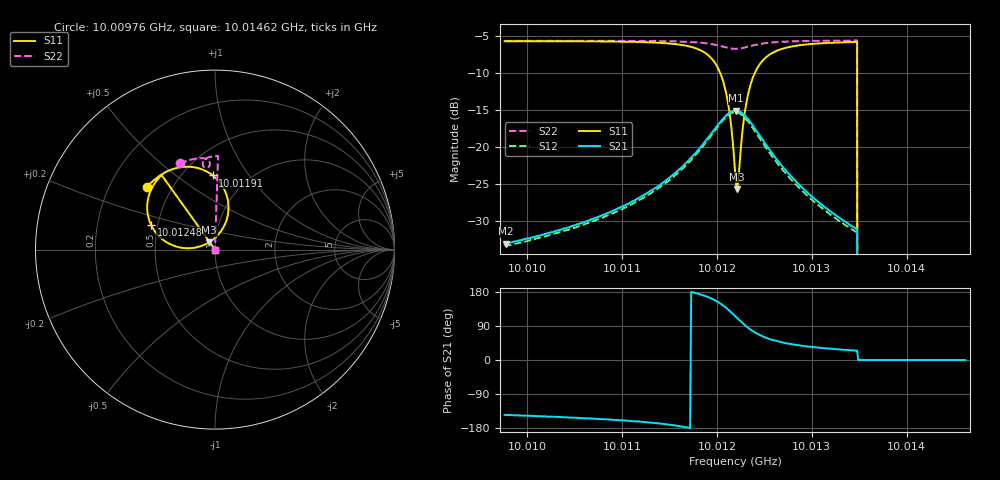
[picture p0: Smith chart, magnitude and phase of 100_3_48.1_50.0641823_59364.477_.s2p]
#  HZ  S  RI  R  50.00
! Rohde & Schwarz Vector Network Analyzer
! Rohde-Schwarz,ZNB20-2Port,1311601062101988,3.16
! Created: UTC 12/23/2023, 3:44:40 AM
! freq[Hz]  re:S11  im:S11  re:S21  im:S21  re:S12  im:S12  re:S22  im:S22
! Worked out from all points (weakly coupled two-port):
!   401 points, 10.00976 GHz to 10.01462 GHz, reference 50 ohm
!   highest |S21| = -15.09 dB at 10.0122 GHz (marker M1); lowest = -33.0 dB at 10.00977 GHz (marker M2)
!   lowest |S11| = -25.6 dB at 10.01221 GHz (marker M3), VSWR 1.11, Z = 46.7 + j3.82 ohm
!   |S11| at or under -10 dB: 10.01203 GHz to 10.0124 GHz (367.2 kHz wide, 0.00367 % of centre); 10.01348 GHz to end of sweep
!   |S22| runs from - to -5.6 dB; largest |S21 - S12| = 0.0084
!   S11 on the Smith chart (normalised r, x): 10.00976 GHz: 0.36, +0.35; 10.01191 GHz: 0.69, +0.69; 10.01248 GHz: 0.46, +0.15; 10.01462 GHz: 1.00, +0.00
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1.0009759e10  -0.3782 0.3506  -0.0183 -0.0129  -0.0169 -0.0133  -0.1962 0.4799
1.0009771e10  -0.3774 0.3512  -0.0183 -0.0128  -0.0172 -0.0134  -0.1954 0.4803
1.0010573e10  -0.3227 0.4014  -0.0275 -0.0139  -0.0259 -0.0147  -0.1445 0.4985
1.0011387e10  -0.2184 0.4538  -0.0537 -0.0121  -0.0512 -0.0145  -0.0858 0.5096
1.0011909e10  -0.0125 0.4134  -0.113 0.0287  -0.111 0.0224  -0.0363 0.4955
1.0012007e10  0.0493 0.3393  -0.1254 0.063  -0.1254 0.0552  -0.029 0.4831
1.001208e10  0.0751 0.2433  -0.1238 0.1004  -0.1255 0.0925  -0.0293 0.4706
1.001214e10  0.0563 0.1432  -0.1053 0.1359  -0.1084 0.1281  -0.0357 0.4607
1.0012189e10  0.0045 0.0692  -0.0778 0.1576  -0.0818 0.1507  -0.045 0.4563
1.0012201e10  -0.0132 0.0543  -0.0697 0.1617  -0.0741 0.1548  -0.0474 0.456
1.0012213e10  -0.0326 0.0408  -0.0611 0.1644  -0.0654 0.1578  -0.05 0.4561
1.0012238e10  -0.0742 0.021  -0.0441 0.1676  -0.0478 0.1615  -0.0551 0.4571
1.0012286e10  -0.1605 0.00769  -0.0105 0.1642  -0.0146 0.1585  -0.0632 0.4626
1.0012323e10  -0.2192 0.0178  0.0112 0.1549  0.00562 0.1493  -0.0673 0.4685
1.0012383e10  -0.2938 0.0581  0.0355 0.1332  0.0298 0.129  -0.0692 0.479
1.0012481e10  -0.3561 0.1376  0.0518 0.0991  0.0462 0.0964  -0.0647 0.4932
1.0012699e10  -0.3756 0.2672  0.0509 0.052  0.0461 0.0518  -0.0456 0.51
1.0013003e10  -0.346 0.3536  0.0381 0.0262  0.0351 0.0265  -0.0192 0.5185
1.0013453e10  -0.2997 0.4128  0.0259 0.0121  0.0239 0.0128  0.015 0.5216
1.0013514e10  0 0  0 0  0 0  0 0
1.0013817e10  0 0  0 0  0 0  0 0
1.0014619e10  0 0  0 0  0 0  0 0
